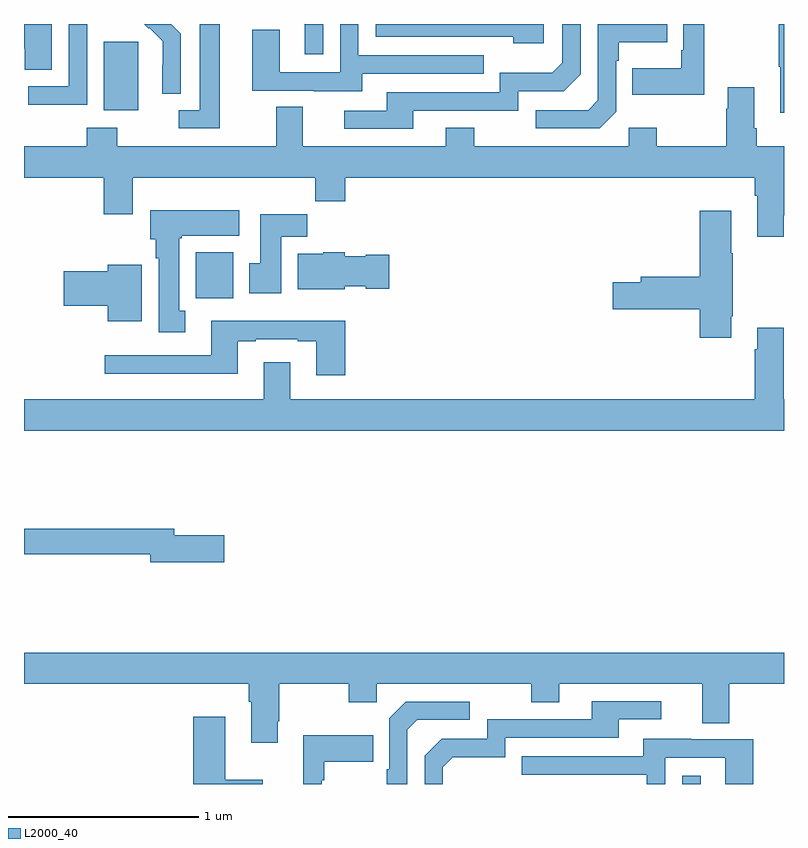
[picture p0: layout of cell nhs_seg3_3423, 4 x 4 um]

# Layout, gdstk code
import gdstk
lib = gdstk.Library(unit=1e-6, precision=1e-09)
def R(c, l, rs):  # rectangles x0, y0, x1, y1
    for r in rs: c.add(gdstk.rectangle(r[:2], r[2:], *l))
def P(c, l, *ps):  # polygons
    for p in ps: c.add(gdstk.Polygon(p, *l))
L2000_40 = (2000, 40)

nhs_seg3_3423 = lib.new_cell('nhs_seg3_3423')
R(nhs_seg3_3423, L2000_40, [(292.464,688.4,292.561,688.444), (289.904,690.956,290.101,691.198), (289.421,691.946,289.6,692.307)])
P(nhs_seg3_3423, L2000_40, [(290.029,692.4),(289.925,692.4),(289.925,691.947),(289.815,691.947),(289.815,691.851),(290.029,691.851)],
  [(292.579,692.4),(292.47,692.4),(292.47,692.263),(292.458,692.263),(292.458,692.167),(292.201,692.167),(292.201,692.027),(292.579,692.027)],
  [(291.049,691.944),(291.6,691.944),(291.6,692.046),(291.84,692.046),(291.93,692.136),(291.93,692.4),(291.834,692.4),(291.834,692.196),(291.781,692.143),(291.504,692.143),(291.504,692.04),(290.909,692.04),(290.909,691.944),(290.685,691.944),(290.685,691.848),(291.049,691.848)],
  [(293,692.4),(292.972,692.4),(292.972,692.175),(292.979,692.175),(292.979,691.932),(293,691.932)],
  [(290.574,692.4),(290.474,692.4),(290.477,692.397),(290.477,692.241),(290.574,692.241)],
  [(291.736,692.4),(290.85,692.4),(290.85,692.334),(291.575,692.334),(291.575,692.3),(291.736,692.3)],
  [(289.824,692.35),(289.774,692.4),(289.632,692.4),(289.656,692.376),(289.659,692.379),(289.73,692.309),(289.73,692.186),(289.728,692.186),(289.728,692.032),(289.824,692.032)],
  [(289.332,692.4),(289.236,692.4),(289.236,692.073),(289.023,692.073),(289.023,691.975),(289.332,691.975)],
  [(289.147,692.4),(289,692.4),(289,692.272),(289.004,692.272),(289.004,692.158),(289.147,692.158)],
  [(292.116,691.938),(292.116,692.207),(292.129,692.207),(292.129,692.303),(292.385,692.303),(292.385,692.4),(292.02,692.4),(292.02,691.998),(291.969,691.947),(291.693,691.947),(291.693,691.851),(292.029,691.851)],
  [(290.779,692.139),(291.419,692.139),(291.419,692.235),(290.76,692.235),(290.76,692.4),(290.664,692.4),(290.664,692.145),(290.346,692.145),(290.346,692.369),(290.201,692.369),(290.201,692.049),(290.525,692.049),(290.525,692.045),(290.779,692.045)],
  [(292.999,691.393),(293,691.393),(293,691.756),(292.856,691.756),(292.856,691.852),(292.843,691.852),(292.843,692.068),(292.703,692.068),(292.703,691.955),(292.696,691.955),(292.696,691.756),(292.329,691.756),(292.329,691.855),(292.182,691.855),(292.182,691.756),(291.369,691.756),(291.369,691.855),(291.221,691.855),(291.221,691.756),(290.467,691.756),(290.467,691.964),(290.327,691.964),(290.327,691.756),(289.491,691.756),(289.491,691.855),(289.331,691.855),(289.331,691.756),(289,691.756),(289,691.592),(289.421,691.592),(289.421,691.398),(289.573,691.398),(289.573,691.592),(290.533,691.592),(290.533,691.468),(290.69,691.468),(290.69,691.592),(292.847,691.592),(292.847,691.496),(292.859,691.496),(292.859,691.281),(292.999,691.281)],
  [(289.849,690.89),(289.816,690.89),(289.816,691.273),(289.83,691.273),(289.83,691.286),(290.134,691.286),(290.134,691.42),(289.664,691.42),(289.664,691.266),(289.694,691.266),(289.694,691.166),(289.709,691.166),(289.709,690.777),(289.849,690.777)],
  [(292.723,690.862),(292.731,690.862),(292.731,691.193),(292.723,691.193),(292.723,691.417),(292.556,691.417),(292.556,691.07),(292.247,691.07),(292.247,691.04),(292.098,691.04),(292.098,690.898),(292.556,690.898),(292.556,690.75),(292.723,690.75)],
  [(290.353,691.28),(290.492,691.28),(290.492,691.399),(290.243,691.399),(290.243,691.14),(290.186,691.14),(290.186,690.984),(290.353,690.984)],
  [(290.688,691.019),(290.799,691.019),(290.799,691.007),(290.923,691.007),(290.923,691.185),(290.799,691.185),(290.799,691.177),(290.688,691.177),(290.688,691.198),(290.574,691.198),(290.574,691.192),(290.441,691.192),(290.441,691.004),(290.688,691.004)],
  [(289.621,691.132),(289.442,691.132),(289.442,691.1),(289.209,691.1),(289.209,690.917),(289.442,690.917),(289.442,690.836),(289.621,690.836)],
  [(290.69,690.838),(289.985,690.838),(289.985,690.657),(289.425,690.657),(289.425,690.56),(290.125,690.56),(290.125,690.729),(290.221,690.729),(290.221,690.741),(290.441,690.741),(290.441,690.729),(290.537,690.729),(290.537,690.552),(290.69,690.552)],
  [(293,690.424),(292.999,690.424),(292.999,690.802),(292.859,690.802),(292.859,690.689),(292.847,690.689),(292.847,690.424),(290.401,690.424),(290.401,690.619),(290.261,690.619),(290.261,690.424),(289,690.424),(289,690.26),(293,690.26)],
  [(290.053,689.708),(289.792,689.708),(289.792,689.744),(289,689.744),(289,689.608),(289.664,689.608),(289.664,689.566),(290.053,689.566)],
  [(289,688.928),(290.183,688.928),(290.183,688.832),(290.195,688.832),(290.195,688.617),(290.335,688.617),(290.335,688.729),(290.343,688.729),(290.343,688.928),(290.71,688.928),(290.71,688.829),(290.856,688.829),(290.856,688.928),(291.67,688.928),(291.67,688.829),(291.817,688.829),(291.817,688.928),(292.571,688.928),(292.571,688.72),(292.711,688.72),(292.711,688.928),(293,688.928),(293,689.092),(289,689.092)],
  [(291.204,688.488),(291.257,688.541),(291.534,688.541),(291.534,688.644),(292.129,688.644),(292.129,688.74),(292.354,688.74),(292.354,688.836),(291.989,688.836),(291.989,688.74),(291.438,688.74),(291.438,688.638),(291.198,688.638),(291.108,688.548),(291.108,688.4),(291.204,688.4)],
  [(291.018,688.686),(291.069,688.737),(291.346,688.737),(291.346,688.833),(291.009,688.833),(290.922,688.746),(290.922,688.477),(290.91,688.477),(290.91,688.4),(291.018,688.4)],
  [(290.257,688.423),(290.059,688.423),(290.059,688.753),(289.892,688.753),(289.892,688.4),(290.257,688.4)],
  [(290.568,688.421),(290.581,688.421),(290.581,688.517),(290.837,688.517),(290.837,688.657),(290.471,688.657),(290.471,688.4),(290.568,688.4)],
  [(292.374,688.539),(292.692,688.539),(292.692,688.4),(292.837,688.4),(292.837,688.635),(292.513,688.635),(292.513,688.639),(292.259,688.639),(292.259,688.545),(291.619,688.545),(291.619,688.449),(292.278,688.449),(292.278,688.4),(292.374,688.4)])

lib.write_gds('nhs_seg3_3423.gds')
